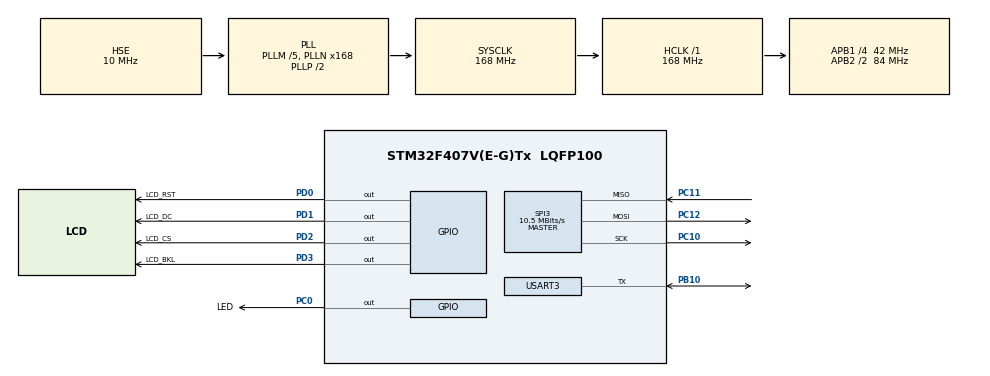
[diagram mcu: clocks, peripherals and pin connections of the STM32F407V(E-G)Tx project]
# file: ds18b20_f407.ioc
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Mcu.Family=STM32F4
Mcu.Name=STM32F407V(E-G)Tx
Mcu.Package=LQFP100
NVIC.PriorityGroup=NVIC_PRIORITYGROUP_4
NVIC.USART3_IRQn=true\:0\:0\:false\:false\:true\:true\:true\:true
PB10.Mode=Half_duplex(single_wire_mode)
PB10.Signal=USART3_TX
PC0.GPIO_Label=LED
PC0.Signal=GPIO_Output
PC10.Mode=Full_Duplex_Master
PC10.Signal=SPI3_SCK
PC11.Mode=Full_Duplex_Master
PC11.Signal=SPI3_MISO
PC12.Mode=Full_Duplex_Master
PC12.Signal=SPI3_MOSI
PD0.GPIO_Label=LCD_RST
PD0.Signal=GPIO_Output
PD1.GPIO_Label=LCD_DC
PD1.Signal=GPIO_Output
PD2.GPIO_Label=LCD_CS
PD2.Signal=GPIO_Output
PD3.GPIO_Label=LCD_BKL
PD3.Signal=GPIO_Output
PH0-OSC_IN.Mode=HSE-External-Oscillator
PH0-OSC_IN.Signal=RCC_OSC_IN
PH1-OSC_OUT.Mode=HSE-External-Oscillator
PH1-OSC_OUT.Signal=RCC_OSC_OUT
ProjectManager.HeapSize=0x2000
ProjectManager.StackSize=0x400
ProjectManager.TargetToolchain=STM32CubeIDE
RCC.48MHZClocksFreq_Value=84000000
RCC.AHBFreq_Value=168000000
RCC.APB1CLKDivider=RCC_HCLK_DIV4
RCC.APB1Freq_Value=42000000
RCC.APB1TimFreq_Value=84000000
RCC.APB2CLKDivider=RCC_HCLK_DIV2
RCC.APB2Freq_Value=84000000
RCC.APB2TimFreq_Value=168000000
RCC.CortexFreq_Value=168000000
RCC.HCLKFreq_Value=168000000
RCC.HSE_VALUE=10000000
RCC.HSI_VALUE=16000000
RCC.LSE_VALUE=32768
RCC.PLLM=5
RCC.PLLN=168
RCC.PLLSourceVirtual=RCC_PLLSOURCE_HSE
RCC.SYSCLKFreq_VALUE=168000000
RCC.SYSCLKSource=RCC_SYSCLKSOURCE_PLLCLK
RCC.VCOOutputFreq_Value=336000000
SPI3.BaudRatePrescaler=SPI_BAUDRATEPRESCALER_4
SPI3.CalculateBaudRate=10.5 MBits/s
SPI3.Direction=SPI_DIRECTION_2LINES
SPI3.Mode=SPI_MODE_MASTER
SPI3.VirtualType=VM_MASTER
USART3.VirtualMode=VM_ASYNC
board=custom

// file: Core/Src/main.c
/* USER CODE BEGIN Header */
/**
  ******************************************************************************
  * @file           : main.c
  * @brief          : Main program body
  ******************************************************************************
  * @attention
  *
  * Copyright (c) 2023 STMicroelectronics.
  * All rights reserved.
  *
  * This software is licensed under terms that can be found in the LICENSE file
  * in the root directory of this software component.
  * If no LICENSE file comes with this software, it is provided AS-IS.
  *
  ******************************************************************************
  */
/* USER CODE END Header */
#include "main.h"

/* USER CODE BEGIN Includes */
#include "OneWire.h"
#include "GUI.h"
#include "DIALOG.h"
#include "stdio.h"
#include "math.h"
#include "string.h"
/* USER CODE END Includes */

SPI_HandleTypeDef hspi3;

UART_HandleTypeDef huart3;

void SystemClock_Config(void);
static void MX_GPIO_Init(void);
static void MX_SPI3_Init(void);
static void MX_USART3_UART_Init(void);
/* USER CODE BEGIN PFP */
extern GUI_CONST_STORAGE GUI_FONT GUI_FontTahoma14;
extern GUI_CONST_STORAGE GUI_FONT GUI_FontBTitr36;
extern WM_HWIN CreateWindow(WM_HWIN parent);
WM_HWIN my_win;
/* USER CODE END PFP */

int main(void)
{

  /* MCU Configuration--------------------------------------------------------*/

  /* Reset of all peripherals, Initializes the Flash interface and the Systick. */
  HAL_Init();

  /* Configure the system clock */
  SystemClock_Config();

  /* Initialize all configured peripherals */
  MX_GPIO_Init();
  MX_SPI3_Init();
  MX_USART3_UART_Init();
  /* USER CODE BEGIN 2 */
//  HAL_GPIO_WritePin(LED_GPIO_Port, LED_Pin, GPIO_PIN_SET);
//  HAL_Delay(1000);
  GUI_Init();
  GUI_UC_SetEncodeUTF8(); /* Enable UTF8 decoding */
  GUI_UC_EnableBIDI(1);   /* Enable bidirectional text */
  GUI_SetFont(&GUI_FontBTitr36);
  GUI_DispStringHCenterAt("پروژه\nباباعباسی", 64, -8);
  HAL_Delay(2000);
  GUI_SetFont(&GUI_FontTahoma14);
  get_ROMid();
  my_win = CreateWindow(WM_GetDesktopWindow());
  GUI_Exec();
//  GUI_SetFont(&GUI_FontTahoma14);
//  GUI_FONTINFO f_info;
//  GUIMONO_GetFontInfo(&GUI_FontTahoma14, &f_info);
//  char str_temp[32];
//  uint8_t points;
//  float data;
  /* USER CODE END 2 */

  /* Infinite loop */
  /* USER CODE BEGIN WHILE */
  while (1)
  {
//	  HAL_GPIO_TogglePin(LED_GPIO_Port, LED_Pin);
//	  HAL_Delay(500);
//	  get_Temperature(); // each conversion take 750 ms maximum
//	  HAL_Delay (800);
//	  GUI_Clear();
//	  for(uint8_t i = 0 ; i < devices ; i++){
//		  data = Temp[i];
//		  points = 0;
//		  while( data != floor(data)){
//			  data *= 10;
//			  points++;
//			  if( points > 10 ){
//				  points = 0 ;
//				  data = 0;
//				  break;
//			  }
//		  }
//		  uint8_t print_size = snprintf(str_temp ,32 , "temp = %d" , (int32_t)data);
//		  if( points != 0){
//			  //points += 2;// "°C" at the end of the string
//			  uint8_t point_place = print_size - points;
//			  memmove(str_temp + point_place + 1 , str_temp + point_place , points + 1);
//			  *(str_temp + point_place) = '.';
//		  }
//		  GUI_DispStringAt(str_temp, 5, i * 12);
//	  }
	  get_Temperature();
	  //GUI_Clear();
	  WM_InvalidateWindow(my_win);
	  GUI_Exec();
	  HAL_Delay(800);
    /* USER CODE END WHILE */

  }
}

void SystemClock_Config(void)
{
  RCC_OscInitTypeDef RCC_OscInitStruct = {0};
  RCC_ClkInitTypeDef RCC_ClkInitStruct = {0};

  /** Configure the main internal regulator output voltage
  */
  __HAL_RCC_PWR_CLK_ENABLE();
  __HAL_PWR_VOLTAGESCALING_CONFIG(PWR_REGULATOR_VOLTAGE_SCALE1);

  /** Initializes the RCC Oscillators according to the specified parameters
  * in the RCC_OscInitTypeDef structure.
  */
  RCC_OscInitStruct.OscillatorType = RCC_OSCILLATORTYPE_HSE;
  RCC_OscInitStruct.HSEState = RCC_HSE_ON;
  RCC_OscInitStruct.PLL.PLLState = RCC_PLL_ON;
  RCC_OscInitStruct.PLL.PLLSource = RCC_PLLSOURCE_HSE;
  RCC_OscInitStruct.PLL.PLLM = 5;
  RCC_OscInitStruct.PLL.PLLN = 168;
  RCC_OscInitStruct.PLL.PLLP = RCC_PLLP_DIV2;
  RCC_OscInitStruct.PLL.PLLQ = 4;
  if (HAL_RCC_OscConfig(&RCC_OscInitStruct) != HAL_OK)
  {
    Error_Handler();
  }

  /** Initializes the CPU, AHB and APB buses clocks
  */
  RCC_ClkInitStruct.ClockType = RCC_CLOCKTYPE_HCLK|RCC_CLOCKTYPE_SYSCLK
                              |RCC_CLOCKTYPE_PCLK1|RCC_CLOCKTYPE_PCLK2;
  RCC_ClkInitStruct.SYSCLKSource = RCC_SYSCLKSOURCE_PLLCLK;
  RCC_ClkInitStruct.AHBCLKDivider = RCC_SYSCLK_DIV1;
  RCC_ClkInitStruct.APB1CLKDivider = RCC_HCLK_DIV4;
  RCC_ClkInitStruct.APB2CLKDivider = RCC_HCLK_DIV2;

  if (HAL_RCC_ClockConfig(&RCC_ClkInitStruct, FLASH_LATENCY_5) != HAL_OK)
  {
    Error_Handler();
  }
}

static void MX_SPI3_Init(void)
{

  /* SPI3 parameter configuration*/
  hspi3.Instance = SPI3;
  hspi3.Init.Mode = SPI_MODE_MASTER;
  hspi3.Init.Direction = SPI_DIRECTION_2LINES;
  hspi3.Init.DataSize = SPI_DATASIZE_8BIT;
  hspi3.Init.CLKPolarity = SPI_POLARITY_LOW;
  hspi3.Init.CLKPhase = SPI_PHASE_1EDGE;
  hspi3.Init.NSS = SPI_NSS_SOFT;
  hspi3.Init.BaudRatePrescaler = SPI_BAUDRATEPRESCALER_4;
  hspi3.Init.FirstBit = SPI_FIRSTBIT_MSB;
  hspi3.Init.TIMode = SPI_TIMODE_DISABLE;
  hspi3.Init.CRCCalculation = SPI_CRCCALCULATION_DISABLE;
  hspi3.Init.CRCPolynomial = 10;
  if (HAL_SPI_Init(&hspi3) != HAL_OK)
  {
    Error_Handler();
  }

}

static void MX_USART3_UART_Init(void)
{

  huart3.Instance = USART3;
  huart3.Init.BaudRate = 115200;
  huart3.Init.WordLength = UART_WORDLENGTH_8B;
  huart3.Init.StopBits = UART_STOPBITS_1;
  huart3.Init.Parity = UART_PARITY_NONE;
  huart3.Init.Mode = UART_MODE_TX_RX;
  huart3.Init.HwFlowCtl = UART_HWCONTROL_NONE;
  huart3.Init.OverSampling = UART_OVERSAMPLING_16;
  if (HAL_HalfDuplex_Init(&huart3) != HAL_OK)
  {
    Error_Handler();
  }

}

static void MX_GPIO_Init(void)
{
  GPIO_InitTypeDef GPIO_InitStruct = {0};

  /* GPIO Ports Clock Enable */
  __HAL_RCC_GPIOH_CLK_ENABLE();
  __HAL_RCC_GPIOC_CLK_ENABLE();
  __HAL_RCC_GPIOB_CLK_ENABLE();
  __HAL_RCC_GPIOD_CLK_ENABLE();

  /*Configure GPIO pin Output Level */
  HAL_GPIO_WritePin(LED_GPIO_Port, LED_Pin, GPIO_PIN_RESET);

  /*Configure GPIO pin Output Level */
  HAL_GPIO_WritePin(GPIOD, LCD_RST_Pin|LCD_DC_Pin|LCD_CS_Pin|LCD_BKL_Pin, GPIO_PIN_RESET);

  /*Configure GPIO pin : LED_Pin */
  GPIO_InitStruct.Pin = LED_Pin;
  GPIO_InitStruct.Mode = GPIO_MODE_OUTPUT_PP;
  GPIO_InitStruct.Pull = GPIO_NOPULL;
  GPIO_InitStruct.Speed = GPIO_SPEED_FREQ_LOW;
  HAL_GPIO_Init(LED_GPIO_Port, &GPIO_InitStruct);

  /*Configure GPIO pins : LCD_RST_Pin LCD_DC_Pin LCD_CS_Pin LCD_BKL_Pin */
  GPIO_InitStruct.Pin = LCD_RST_Pin|LCD_DC_Pin|LCD_CS_Pin|LCD_BKL_Pin;
  GPIO_InitStruct.Mode = GPIO_MODE_OUTPUT_PP;
  GPIO_InitStruct.Pull = GPIO_NOPULL;
  GPIO_InitStruct.Speed = GPIO_SPEED_FREQ_LOW;
  HAL_GPIO_Init(GPIOD, &GPIO_InitStruct);

}

void Error_Handler(void)
{
  __disable_irq();
  while (1)
  {
  }
}
